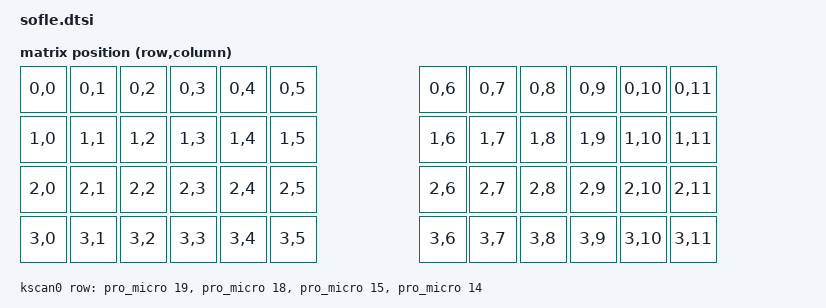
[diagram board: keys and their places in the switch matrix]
/*
 * Copyright (c) 2020 Pete Johanson, Ryan Cross
 *
 * SPDX-License-Identifier: MIT
 */

#include <dt-bindings/zmk/matrix_transform.h>
#include <dt-bindings/zmk/input_transform.h>
#include <input/processors.dtsi>
#include "sofle-layouts.dtsi"
#include <dt-bindings/led/led.h>
#include <zephyr/dt-bindings/input/input-event-codes.h>

/ {
    chosen {
        zephyr,display = &oled;
        zmk,kscan = &kscan0;
		zmk,physical-layout = &layout_0;
    };

    default_transform: keymap_transform_0 {
        compatible = "zmk,matrix-transform";
        columns = <12>;
        rows = <4>;
        map = <
RC(0,0) RC(0,1) RC(0,2) RC(0,3) RC(0,4) RC(0,5)                    RC(0,6) RC(0,7) RC(0,8) RC(0,9) RC(0,10) RC(0,11)
RC(1,0) RC(1,1) RC(1,2) RC(1,3) RC(1,4) RC(1,5)                    RC(1,6) RC(1,7) RC(1,8) RC(1,9) RC(1,10) RC(1,11)
RC(2,0) RC(2,1) RC(2,2) RC(2,3) RC(2,4) RC(2,5)                    RC(2,6) RC(2,7) RC(2,8) RC(2,9) RC(2,10) RC(2,11)
RC(3,0) RC(3,1) RC(3,2) RC(3,3) RC(3,4) RC(3,5)                    RC(3,6) RC(3,7) RC(3,8) RC(3,9) RC(3,10) RC(3,11) 
		>;
    };

    kscan0: kscan {
        compatible = "zmk,kscan-gpio-matrix";
        wakeup-source;

        diode-direction = "col2row";
        row-gpios
            = <&pro_micro 19 (GPIO_ACTIVE_HIGH | GPIO_PULL_DOWN)>
            , <&pro_micro 18 (GPIO_ACTIVE_HIGH | GPIO_PULL_DOWN)>
            , <&pro_micro 15 (GPIO_ACTIVE_HIGH | GPIO_PULL_DOWN)>
            , <&pro_micro 14 (GPIO_ACTIVE_HIGH | GPIO_PULL_DOWN)>
            ;
    };

};

// oled,I2c
&pinctrl {
       i2c0_default: i2c0_default {
               group1 {
                       psels = <NRF_PSEL(TWIM_SDA, 0, 17)>,
                               <NRF_PSEL(TWIM_SCL, 0, 20)>;
               };
       };

       i2c0_sleep: i2c0_sleep {
               group1 {
                       psels = <NRF_PSEL(TWIM_SDA, 0, 17)>,
                               <NRF_PSEL(TWIM_SCL, 0, 20)>;
                       low-power-enable;
               };
       };
};


&pro_micro_i2c {
    status = "okay";

    oled: ssd1306@3c {
        compatible = "solomon,ssd1306fb";
        reg = <0x3c>;
        width = <128>;
        height = <32>;
        segment-offset = <0>;
        page-offset = <0>;
        display-offset = <0>;
        multiplex-ratio = <31>;
        segment-remap;
        com-invdir;
        com-sequential;
        inversion-on;
        prechargep = <0x22>;
    };
};

&adc {
	status = "okay";
};

/ {
	anin0: analog_input_0 {
		compatible = "zmk,analog-input";
		sampling-hz = <100>;
		x-ch {
			io-channels = <&adc 5>; // <--- see ain-map.png for nRF52840
			mv-mid = <1630>;
			mv-min-max = <1600>;
			mv-deadzone = <10>;
			scale-multiplier = <1>;
			scale-divisor = <70>;
			invert;
			evt-type = <INPUT_EV_REL>;
			input-code = <INPUT_REL_X>;
		};
		y-ch {
			io-channels = <&adc 7>; // <--- see ain-map.png for nRF52840
			mv-mid = <1630>;
			mv-min-max = <1600>;
			mv-deadzone = <10>;
			scale-multiplier = <3>;
			scale-divisor = <4>;
			invert;
			evt-type = <INPUT_EV_REL>;
			input-code = <INPUT_REL_Y>;

			/* enable report mdoe for gamepad axix or knob */
			/* to only call input_report on quantquantized value is updated */
			/* NOTE: mouse input does NOT need this */
			report-on-change-only;

		};
	};
};
/ {
	

    split_inputs {
        #address-cells = <1>;
        #size-cells = <0>;

        tps43_split: tps43_split@74 {
            compatible = "zmk,input-split";
            reg = <0x74>;
        };
    };

	tps43_listener: tps43_listener {
        compatible = "zmk,input-listener";
        status = "disabled";
        device = <&tps43_split>;
        input-processors = <&zip_xy_transform (INPUT_TRANSFORM_XY_SWAP | INPUT_TRANSFORM_X_INVERT)>, <&zip_scroll_transform (INPUT_TRANSFORM_XY_SWAP)>;
    };
};
